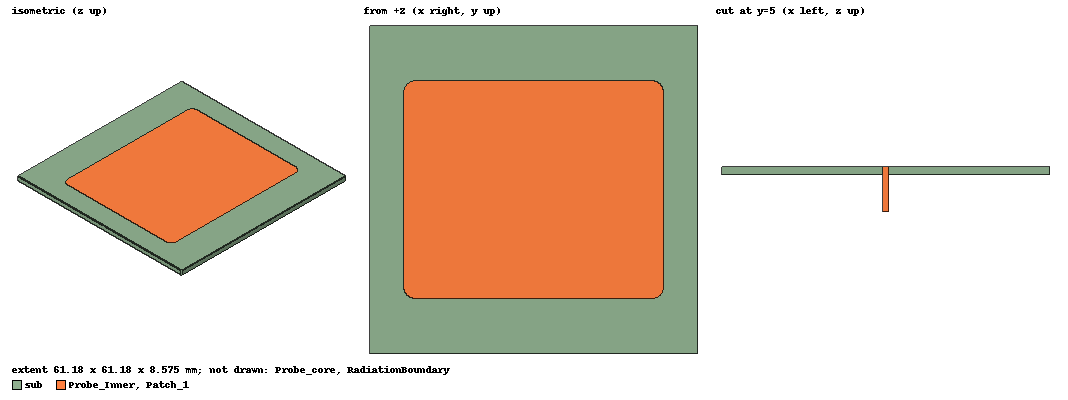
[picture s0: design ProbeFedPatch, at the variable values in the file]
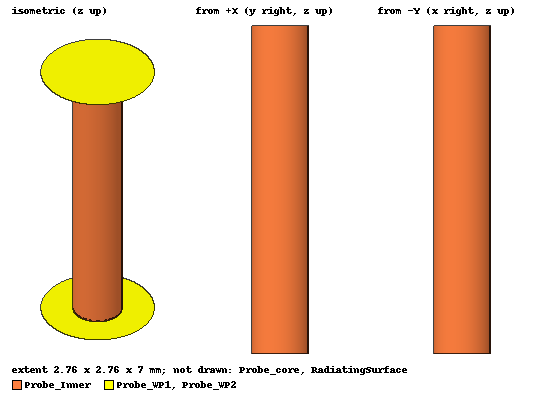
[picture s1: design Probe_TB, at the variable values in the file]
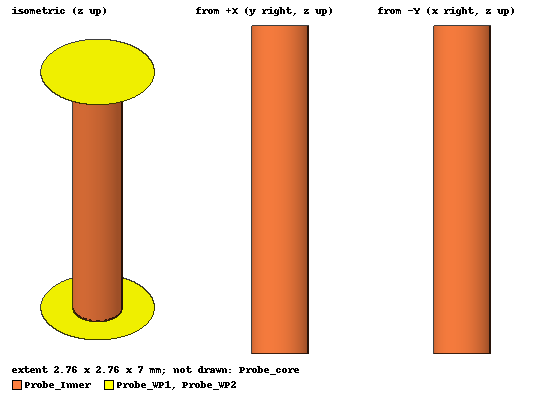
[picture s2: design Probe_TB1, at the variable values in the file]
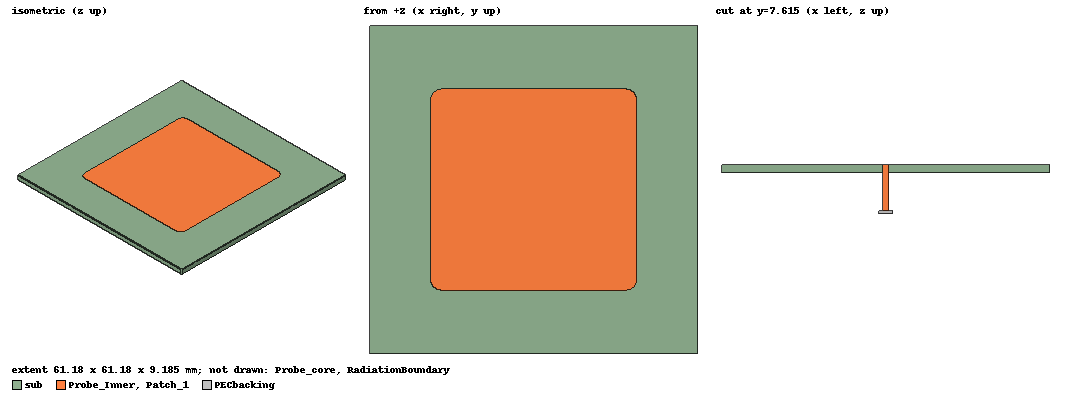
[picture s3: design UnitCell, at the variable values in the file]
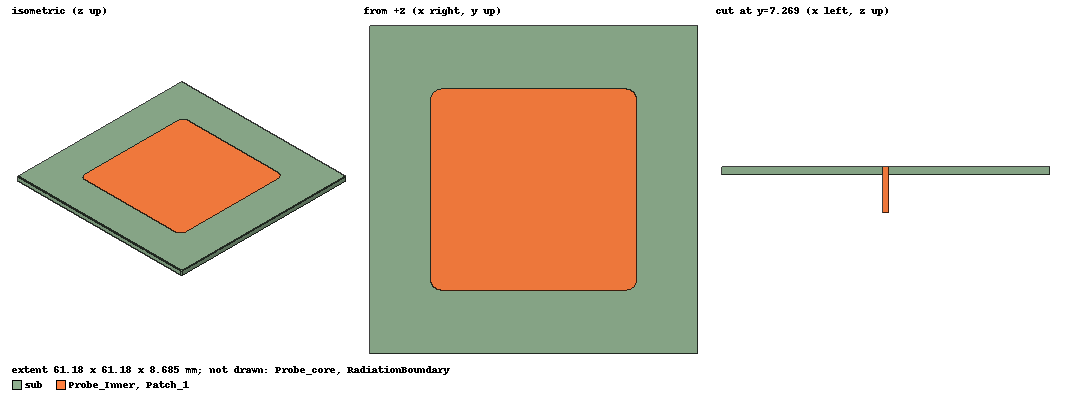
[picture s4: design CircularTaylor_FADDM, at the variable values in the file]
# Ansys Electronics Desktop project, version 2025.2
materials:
  vacuum: permittivity=1
  Rogers RT/duroid 5880 (tm): permittivity=2.2 dielectric_loss_tangent=0.0009
  pec: conductivity=1e+30
  Teflon (tm): permittivity=2.1 dielectric_loss_tangent=0.001
  air: permittivity=1.0006 permeability=1.0000004

design ProbeFedPatch (HFSS, HFSS Modal Network, model units mm)
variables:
  PatchW = 48.4022mm
  PatchL = 40.5207mm
  subh = 62mil
  probe_b = 1.38mm
  probe_a = 0.6mm
  subW = 61.18367347mm
  r_x = 1mm
  r_s = 2mm
  probe_L = 7mm
  dx = 0mm
  dy = 5mm
  lambda = 150mm
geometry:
  sub [Rogers RT/duroid 5880 (tm)] = box(corner=(-subW/2, -subW/2, 0mm), size=(subW, subW, subh))
  Patch = rectangle(corner=(-PatchW/2, -PatchL/2, subh), x_size=PatchW, y_size=PatchL)
  PatchCorner_Remove1 = circle(normal=Z, centre=(PatchW/2-r_s, PatchL/2-r_s, subh), radius=r_s)
  Patch_1 = PatchCorner_Remove1.duplicate_along_line(step=(-PatchW +2*r_s, 0mm, 0mm), total=2)
  PatchCorner_Remove3 = PatchCorner_Remove1.duplicate_along_line(step=(0mm, -PatchL+2*r_s, 0mm), total=2)
  PatchCorner_Remove4 = Patch_1.duplicate_along_line(step=(0mm, -PatchL+2 * r_s, 0mm), total=2)
  PatchCorner_Remove5 = circle(normal=Z, centre=(PatchW/2-r_s, PatchL/2-r_s, subh), radius=r_s)
  PatchCorner_Remove6 = PatchCorner_Remove5.duplicate_along_line(step=(-PatchW +2*r_s, 0mm, 0mm), total=2)
  PatchCorner_Remove5.move(r_s, r_s, 0mm)
  PatchCorner_Remove6.move(-r_s, r_s, 0mm)
  PatchCorner_Remove9 = circle(normal=Z, centre=(PatchW/2-r_s, PatchL/2-r_s, subh), radius=r_s)
  PatchCorner_Remove10 = PatchCorner_Remove9.duplicate_along_line(step=(-PatchW +2*r_s, 0mm, 0mm), total=2)
  PatchCorner_Remove7 = PatchCorner_Remove9.duplicate_along_line(step=(0mm, -PatchL+2*r_s, 0mm), total=2)
  PatchCorner_Remove9.delete()
  PatchCorner_Remove8 = PatchCorner_Remove10.duplicate_along_line(step=(0mm, -PatchL+2 * r_s, 0mm), total=2)
  PatchCorner_Remove10.delete()
  PatchCorner_Remove7.move(r_s, -r_s, 0mm)
  PatchCorner_Remove8.move(-r_s, -r_s, 0mm)
  Patch.subtract(PatchCorner_Remove5..PatchCorner_Remove8)
  Patch_1.unite(PatchCorner_Remove1, PatchCorner_Remove3, PatchCorner_Remove4, Patch)
  Probe_Inner [pec] = cylinder(axis=Z, base_centre=(dx, dy, -probe_L), radius=probe_a, height=probe_L+subh)
  Probe_Inner_1 = Probe_Inner.copy()
  Probe_core [air] = cylinder(axis=Z, base_centre=(dx, dy, -Probe_L), radius=probe_b, height=Probe_L)
  Probe_core.subtract(Probe_Inner_1)
  Probe_WP2 = circle(normal=Z, centre=(dx, dy, -Probe_L), radius=probe_b)
  RadiationBoundary [vacuum] = box(corner=(-subW/2-lambda/2, -subW/2-lambda/2, -lambda/2-probe_L), size=(lambda+subW, lambda+subW, lambda+probe_L+subh))
  Probe_Inner_2 = Probe_Inner.copy()
  sub.subtract(Probe_Inner_2)
  GroundPlane [Rogers RT/duroid 5880 (tm)] = object_from(sub.face(-z))
  Probe_WP3 = circle(normal=Z, centre=(dx, dy, 0), radius=probe_b)
  GroundPlane.subtract(Probe_WP3)
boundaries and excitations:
  PerfE1: Perfect E Faces=Probe_core.face(side)
  FE-BI1: FE-BI Objects=RadiationBoundary UseAdaptiveIE
  PerfE2: Perfect E Objects=Patch_1
  PerfE3: Perfect E Objects=GroundPlane
  1: Wave Port Objects=Probe_WP2 WavePortType=Modal NumModes=1 Modes{Mode1{IntLine{(0, 3.62, -7) -> (0, 4.4, -7)} CharImp=Zpi}} SpecifiedWaveDirectionFlip
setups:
  InitialBroadbandSweep: HfssDriven MultipleAdaptiveFreqsSetup{Low=1GHz High=7GHz} MaxDeltaS=0.02 MaximumPasses=12 MinimumPasses=1 MinimumConvergedPasses=1 PercentRefinement=30 BasisOrder=1 PortAccuracy=2 DrivenSolverType="Domain Decomposition" IterativeResidual=1e-06 DDMSolverResidual=0.0001 SaveRadFieldsOnly InfiniteSphereSetup=1
    sweep Sweep: 1GHz to 7GHz, 601 points; Type=Interpolating SaveFields InterpTolerance=0.5 InterpMaxSolns=250 InterpUsePortImped=false PassivityErrorTolerance=0.0001
  SimpleSweep: HfssDriven Frequency=2.45GHz MaxDeltaS=0.02 MaximumPasses=12 MinimumPasses=1 MinimumConvergedPasses=1 PercentRefinement=30 BasisOrder=1 PortAccuracy=2 DrivenSolverType="Domain Decomposition" IterativeResidual=1e-06 DDMSolverResidual=0.0001 InfiniteSphereSetup=1
    sweep Sweep: 2GHz to 3GHz, 101 points; Type=Interpolating SaveFields InterpTolerance=0.5 InterpMaxSolns=250 InterpUsePortImped=false PassivityErrorTolerance=0.0001
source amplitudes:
  1:1: 1W 0deg
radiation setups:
  Infinite Sphere1: Infinite Sphere Theta=-180deg..180deg step 1deg Phi=-180deg..180deg step 1deg
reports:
  S Parameter Plot1: dB(S(1,1)) vs Freq on SimpleSweep : Sweep

design Probe_TB (HFSS, HFSS Modal Network, model units mm)
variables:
  PatchW = 48.4022mm
  PatchL = 40.5207mm
  subh = 62mil
  probe_b = 1.38mm
  probe_a = 0.6mm
  subW = 61.18367347mm
  probe_L = 7mm
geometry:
  Probe_Inner [pec] = cylinder(axis=Z, base_centre=(0mm, 0mm, -probe_L), radius=probe_a, height=probe_L)
  Probe_core [air] = cylinder(axis=Z, base_centre=(0mm, 0mm, -Probe_L), radius=probe_b, height=Probe_L)
  Probe_Inner_1 = Probe_Inner.copy()
  Probe_core.subtract(Probe_Inner_1)
  Probe_WP1 = circle(normal=Z, centre=(0mm, 0mm, 0mm), radius=probe_b)
  Probe_WP2 = circle(normal=Z, centre=(0mm, 0mm, -Probe_L), radius=probe_b)
  RadiatingSurface [vacuum] = region(absolute_offset=100mm on all sides)
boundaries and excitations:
  PerfE1: Perfect E Faces=Probe_core.face(side)
  Open1: Radiation Objects=RadiatingSurface
  1: Wave Port Objects=Probe_WP1 WavePortType=Modal NumModes=1 Modes{Mode1{IntLine{(0, 1.38, 0) -> (0, 0.6, 0)} CharImp=Zpi}}
  2: Wave Port Objects=Probe_WP2 WavePortType=Modal NumModes=1 Modes{Mode1{IntLine{(0, -1.38, -7) -> (0, -0.6, -7)} CharImp=Zpi}} SpecifiedWaveDirectionFlip
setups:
  Setup1: HfssDriven MultipleAdaptiveFreqsSetup{Low=1GHz High=10GHz} MaxDeltaS=0.02 MaximumPasses=10 MinimumPasses=1 MinimumConvergedPasses=1 PercentRefinement=30 BasisOrder=1 PortAccuracy=2 DrivenSolverType="Direct Solver"
    sweep Sweep: 1GHz to 10GHz, 401 points; Type=Interpolating SaveFields InterpTolerance=0.5 InterpMaxSolns=250 InterpUsePortImped=false PassivityErrorTolerance=0.0001
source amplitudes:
  1:1: 1W 0deg
  2:1: 0W 0deg
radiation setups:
  3D: Infinite Sphere Theta=0deg..180deg step 2deg Phi=-180deg..180deg step 2deg
  Elevation: Infinite Sphere Theta=-180deg..180deg step 1deg Phi=0deg..90deg step 90deg
  Azimuth: Infinite Sphere Theta=90deg..90deg step 0deg Phi=-180deg..180deg step 1deg
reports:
  S Parameters: dB(S(1,1)), dB(S(2,1)) vs Freq on Setup1 : Sweep
  Port Zo Plot1:
  Port Zo Plot2:
  Characteristic Impedance: mag(Zo(1)) vs Freq on Setup1 : Sweep

design Probe_TB1 (HFSS, HFSS Modal Network, model units mm)
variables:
  PatchW = 48.4022mm
  PatchL = 40.5207mm
  subh = 62mil
  probe_b = 1.38mm
  probe_a = 0.6mm
  subW = 61.18367347mm
  probe_L = 7mm
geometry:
  Probe_Inner [pec] = cylinder(axis=Z, base_centre=(0mm, 0mm, -probe_L), radius=probe_a, height=probe_L)
  Probe_core [air] = cylinder(axis=Z, base_centre=(0mm, 0mm, -Probe_L), radius=probe_b, height=Probe_L)
  Probe_Inner_1 = Probe_Inner.copy()
  Probe_core.subtract(Probe_Inner_1)
  Probe_WP1 = circle(normal=Z, centre=(0mm, 0mm, 0mm), radius=probe_b)
  Probe_WP2 = circle(normal=Z, centre=(0mm, 0mm, -Probe_L), radius=probe_b)
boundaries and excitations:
  PerfE1: Perfect E Faces=Probe_core.face(side)
  1: Wave Port Objects=Probe_WP1 WavePortType=Modal NumModes=1 Modes{Mode1{IntLine{(0, 1.38, 0) -> (0, 0.6, 0)} CharImp=Zpi}}
  2: Wave Port Objects=Probe_WP2 WavePortType=Modal NumModes=1 Modes{Mode1{IntLine{(0, -1.38, -7) -> (0, -0.6, -7)} CharImp=Zpi}} SpecifiedWaveDirectionFlip
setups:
  Setup1: HfssDriven MultipleAdaptiveFreqsSetup{Low=1GHz High=10GHz} MaxDeltaS=0.02 MaximumPasses=10 MinimumPasses=1 MinimumConvergedPasses=1 PercentRefinement=30 BasisOrder=1 PortAccuracy=2 DrivenSolverType="Direct Solver"
    sweep Sweep: 1GHz to 10GHz, 401 points; Type=Interpolating SaveFields InterpTolerance=0.5 InterpMaxSolns=250 InterpUsePortImped=false PassivityErrorTolerance=0.0001
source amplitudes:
  1:1: 1W 0deg
  2:1: 0W 0deg
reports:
  S Parameters: dB(S(1,1)), dB(S(2,1)) vs Freq on Setup1 : Sweep
  Port Zo Plot1:
  Port Zo Plot2:
  Characteristic Impedance: mag(Zo(1)) vs Freq on Setup1 : Sweep

design UnitCell (HFSS, HFSS Modal Network, model units mm)
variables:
  PatchW = 38.4mm  # optimise 24.2011mm..72.6033mm
  PatchL = 37.5mm  # optimise 20.26035mm..60.78105mm
  subh = 62mil
  probe_b = 1.38mm
  probe_a = 0.6mm
  subW = 61.18367347mm
  r_x = 1mm
  r_s = 2mm
  probe_L = 7.11mm
  dx = 0mm  # optimise -2mm..2mm
  dy = 7.615mm  # optimise 2.5mm..7.5mm
  lambda = 150mm
  Scan_Phi = 0deg
  Scan_Theta = 0deg
  air_gap = 5mm
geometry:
  sub [Rogers RT/duroid 5880 (tm)] = box(corner=(-subW/2, -subW/2, 0mm), size=(subW, subW, subh))
  Patch = rectangle(corner=(-PatchW/2, -PatchL/2, subh), x_size=PatchW, y_size=PatchL)
  PatchCorner_Remove1 = circle(normal=Z, centre=(PatchW/2-r_s, PatchL/2-r_s, subh), radius=r_s)
  Patch_1 = PatchCorner_Remove1.duplicate_along_line(step=(-PatchW +2*r_s, 0mm, 0mm), total=2)
  PatchCorner_Remove3 = PatchCorner_Remove1.duplicate_along_line(step=(0mm, -PatchL+2*r_s, 0mm), total=2)
  PatchCorner_Remove4 = Patch_1.duplicate_along_line(step=(0mm, -PatchL+2 * r_s, 0mm), total=2)
  PatchCorner_Remove5 = circle(normal=Z, centre=(PatchW/2-r_s, PatchL/2-r_s, subh), radius=r_s)
  PatchCorner_Remove6 = PatchCorner_Remove5.duplicate_along_line(step=(-PatchW +2*r_s, 0mm, 0mm), total=2)
  PatchCorner_Remove5.move(r_s, r_s, 0mm)
  PatchCorner_Remove6.move(-r_s, r_s, 0mm)
  PatchCorner_Remove9 = circle(normal=Z, centre=(PatchW/2-r_s, PatchL/2-r_s, subh), radius=r_s)
  PatchCorner_Remove10 = PatchCorner_Remove9.duplicate_along_line(step=(-PatchW +2*r_s, 0mm, 0mm), total=2)
  PatchCorner_Remove7 = PatchCorner_Remove9.duplicate_along_line(step=(0mm, -PatchL+2*r_s, 0mm), total=2)
  PatchCorner_Remove9.delete()
  PatchCorner_Remove8 = PatchCorner_Remove10.duplicate_along_line(step=(0mm, -PatchL+2 * r_s, 0mm), total=2)
  PatchCorner_Remove10.delete()
  PatchCorner_Remove7.move(r_s, -r_s, 0mm)
  PatchCorner_Remove8.move(-r_s, -r_s, 0mm)
  Patch.subtract(PatchCorner_Remove5..PatchCorner_Remove8)
  Patch_1.unite(PatchCorner_Remove1, PatchCorner_Remove3, PatchCorner_Remove4, Patch)
  Probe_Inner [pec] = cylinder(axis=Z, base_centre=(dx, dy, -probe_L), radius=probe_a, height=probe_L+subh)
  Probe_Inner_1 = Probe_Inner.copy()
  Probe_core [air] = cylinder(axis=Z, base_centre=(dx, dy, -Probe_L), radius=probe_b, height=Probe_L)
  Probe_core.subtract(Probe_Inner_1)
  Probe_WP2 = circle(normal=Z, centre=(dx, dy, -Probe_L), radius=probe_b)
  RadiationBoundary [vacuum] = box(corner=(-subW/2, -subW/2, -probe_L-air_gap), size=(subW, subW, lambda/2 + probe_L+ air_gap))
  Probe_Inner_2 = Probe_Inner.copy()
  sub.subtract(Probe_Inner_2)
  GroundPlane [Rogers RT/duroid 5880 (tm)] = object_from(sub.face(-z))
  Probe_WP3 = circle(normal=Z, centre=(dx, dy, 0), radius=probe_b)
  GroundPlane.subtract(Probe_WP3)
  PECbacking [pec] = cylinder(axis=Z, base_centre=(dx, dy, -probe_L), radius=probe_b, height=-0.5mm)
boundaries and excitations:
  PerfE1: Perfect E Faces=Probe_core.face(side)
  PerfE2: Perfect E Objects=Patch_1
  PerfE3: Perfect E Objects=GroundPlane
  LatticePair1: Lattice Pair Faces=RadiationBoundary.face(+y, -y) CoordSysVector{(-30.591837, 30.591837, -12.11) -> (-30.591837, 30.591837, 75)} PhaseDelay=UseScanAngle Phi=Scan_Phi Theta=Scan_Theta
  LatticePair2: Lattice Pair Faces=RadiationBoundary.face(-x, +x) CoordSysVector{(-30.591837, -30.591837, -12.11) -> (-30.591837, -30.591837, 75)} ReverseV PhaseDelay=UseScanAngle Phi=Scan_Phi Theta=Scan_Theta
  Rad1: Radiation Faces=RadiationBoundary.face(+z)
  1: Wave Port Objects=Probe_WP2 WavePortType=Modal NumModes=1 Modes{Mode1{IntLine{(0, 6.235, -7.11) -> (0, 7.015, -7.11)} CharImp=Zpi}} SpecifiedWaveDirectionFlip
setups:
  mySetup: HfssDriven Frequency=2.45GHz MaxDeltaS=0.02 MaximumPasses=20 MinimumPasses=3 MinimumConvergedPasses=1 PercentRefinement=30 BasisOrder=1 PortAccuracy=2 DrivenSolverType="Direct Solver" InfiniteSphereSetup=1
    sweep Sweep: 2GHz to 3GHz, 201 points; Type=Interpolating SaveFields InterpTolerance=0.5 InterpMaxSolns=250 InterpUsePortImped=false PassivityErrorTolerance=0.0001
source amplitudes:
  1:1: 1W 0deg
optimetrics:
  UnitCellOptimization: Optimization Optimizer="DX MOGA" AnalysisStopOptions{StopForNumIteration MaxNumIteration=1100 MinNumIteration=10} CostFuncNormType=L2 Acceptable_Cost=0 Noise=0.0001 UpdateDesignWhenDone
    vary PatchL: Min=33mm Max=38mm MinStep=0.405207mm MaxStep=4.05207mm MinFocus=20.26035mm MaxFocus=60.78105mm start=34mm
    vary PatchW: Min=34mm Max=39mm MinStep=0.484022mm MaxStep=4.84022mm MinFocus=24.2011mm MaxFocus=72.6033mm start=39mm
    vary dy: Min=1mm Max=10mm MinStep=0.05mm MaxStep=0.5mm MinFocus=2.5mm MaxFocus=7.5mm start=7.6mm
    goal dB(S(1,1)) Minimize 0 weight 1 on mySetup : LastAdaptive at Freq 2.45GHz
  Patch Length Parametric Study: Parametric Sim._Setups=[mySetup]
    sweep PatchL: LIN 35mm 40mm 0.5mm
  Patch Width Parametric Study: Parametric Sim._Setups=[mySetup]
    sweep PatchW: LIN 38mm 39mm 0.1mm
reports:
  Return Loss: dB(S(1,1)) vs Freq on mySetup : Sweep; markers m1 at 2.4GHz, m4 at 2.475GHz, m5 at 2.53GHz, m6 at 2.395GHz, m7 at 2.405GHz
  S Parameter Plot2: dB(S(1,1)) vs Freq on mySetup : LastAdaptive [PatchW=all PatchL=all dx=all dy=all]

design CircularTaylor_FADDM (HFSS, HFSS Hybrid Modal Network, model units mm)
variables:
  PatchW = 38.4mm
  PatchL = 37.5mm  # optimise 20.26035mm..60.78105mm
  subh = 62mil
  probe_b = 1.38mm
  probe_a = 0.6mm
  subW = 61.18367347mm
  r_x = 1mm
  r_s = 2mm
  probe_L = 7.11mm
  dx = 0mm
  dy = 7.269375mm  # optimise 2.5mm..7.5mm
  lambda = 150mm
  Scan_Phi = 0deg
  Scan_Theta = 0deg
  air_gap = 5mm
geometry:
  sub [Rogers RT/duroid 5880 (tm)] = box(corner=(-subW/2, -subW/2, 0mm), size=(subW, subW, subh))
  Patch = rectangle(corner=(-PatchW/2, -PatchL/2, subh), x_size=PatchW, y_size=PatchL)
  PatchCorner_Remove1 = circle(normal=Z, centre=(PatchW/2-r_s, PatchL/2-r_s, subh), radius=r_s)
  Patch_1 = PatchCorner_Remove1.duplicate_along_line(step=(-PatchW +2*r_s, 0mm, 0mm), total=2)
  PatchCorner_Remove3 = PatchCorner_Remove1.duplicate_along_line(step=(0mm, -PatchL+2*r_s, 0mm), total=2)
  PatchCorner_Remove4 = Patch_1.duplicate_along_line(step=(0mm, -PatchL+2 * r_s, 0mm), total=2)
  PatchCorner_Remove5 = circle(normal=Z, centre=(PatchW/2-r_s, PatchL/2-r_s, subh), radius=r_s)
  PatchCorner_Remove6 = PatchCorner_Remove5.duplicate_along_line(step=(-PatchW +2*r_s, 0mm, 0mm), total=2)
  PatchCorner_Remove5.move(r_s, r_s, 0mm)
  PatchCorner_Remove6.move(-r_s, r_s, 0mm)
  PatchCorner_Remove9 = circle(normal=Z, centre=(PatchW/2-r_s, PatchL/2-r_s, subh), radius=r_s)
  PatchCorner_Remove10 = PatchCorner_Remove9.duplicate_along_line(step=(-PatchW +2*r_s, 0mm, 0mm), total=2)
  PatchCorner_Remove7 = PatchCorner_Remove9.duplicate_along_line(step=(0mm, -PatchL+2*r_s, 0mm), total=2)
  PatchCorner_Remove9.delete()
  PatchCorner_Remove8 = PatchCorner_Remove10.duplicate_along_line(step=(0mm, -PatchL+2 * r_s, 0mm), total=2)
  PatchCorner_Remove10.delete()
  PatchCorner_Remove7.move(r_s, -r_s, 0mm)
  PatchCorner_Remove8.move(-r_s, -r_s, 0mm)
  Patch.subtract(PatchCorner_Remove5..PatchCorner_Remove8)
  Patch_1.unite(PatchCorner_Remove1, PatchCorner_Remove3, PatchCorner_Remove4, Patch)
  Probe_Inner [pec] = cylinder(axis=Z, base_centre=(dx, dy, -probe_L), radius=probe_a, height=probe_L+subh)
  Probe_Inner_1 = Probe_Inner.copy()
  Probe_core [air] = cylinder(axis=Z, base_centre=(dx, dy, -Probe_L), radius=probe_b, height=Probe_L)
  Probe_core.subtract(Probe_Inner_1)
  Probe_WP2 = circle(normal=Z, centre=(dx, dy, -Probe_L), radius=probe_b)
  RadiationBoundary [vacuum] = box(corner=(-subW/2, -subW/2, -probe_L-air_gap), size=(subW, subW, lambda/2 + probe_L+ air_gap))
  Probe_Inner_2 = Probe_Inner.copy()
  sub.subtract(Probe_Inner_2)
  GroundPlane [Rogers RT/duroid 5880 (tm)] = object_from(sub.face(-z))
  Probe_WP3 = circle(normal=Z, centre=(dx, dy, 0), radius=probe_b)
  GroundPlane.subtract(Probe_WP3)
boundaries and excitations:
  PerfE1: Perfect E Faces=Probe_core.face(side)
  PerfE2: Perfect E Objects=Patch_1
  PerfE3: Perfect E Objects=GroundPlane
  LatticePair1: Lattice Pair Faces=RadiationBoundary.face(+y, -y) CoordSysVector{(-30.591837, 30.591837, -12.11) -> (-30.591837, 30.591837, 75)} PhaseDelay=UseScanAngle Phi=Scan_Phi Theta=Scan_Theta
  LatticePair2: Lattice Pair Faces=RadiationBoundary.face(-x, +x) CoordSysVector{(-30.591837, -30.591837, -12.11) -> (-30.591837, -30.591837, 75)} ReverseV PhaseDelay=UseScanAngle Phi=Scan_Phi Theta=Scan_Theta
  Rad1: Radiation Faces=RadiationBoundary.face(+z)
  1: Wave Port Objects=Probe_WP2 WavePortType=Modal NumModes=1 Modes{Mode1{IntLine{(0, 5.889375, -7.11) -> (0, 6.669375, -7.11)} CharImp=Zpi}} SpecifiedWaveDirectionFlip
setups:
  SimpleSweep: HfssDriven Frequency=2.4GHz MaxDeltaS=0.02 MaximumPasses=20 MinimumPasses=1 MinimumConvergedPasses=1 PercentRefinement=30 BasisOrder=1 PortAccuracy=2 DrivenSolverType="Direct Solver" ConstantDelta=0s InfiniteSphereSetup=17
    sweep Sweep: point 2.4GHz; Type=Discrete SaveFields
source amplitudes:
  1:1, 1:8, 1:21, 1:34, 1:67, 1:84, 1:193, 1:210, 1:243, 1:256, 1:269, 1:276: 0.73936996655641W 0deg
  1:2, 1:7, 1:85, 1:102, 1:175, 1:192, 1:270, 1:275: 0.682878137993721W 0deg
  1:3, 1:6, 1:103, 1:120, 1:157, 1:174, 1:271, 1:274: 0.638125986036853W 0deg
  1:4, 1:5, 1:22, 1:33, 1:36, 1:49, 1:121, 1:138, 1:139, 1:156, 1:228, 1:241, 1:244, 1:255, 1:272, 1:273: 0.614304665457233W 0deg
  1:9, 1:20, 1:35, 1:50, 1:227, 1:242, 1:257, 1:268: 0.754637402894483W 0deg
  1:10, 1:19, 1:51, 1:66, 1:211, 1:226, 1:258, 1:267: 0.661067431753212W 0deg
  1:11, 1:18, 1:68, 1:83, 1:194, 1:209, 1:259, 1:266: 0.565115777851209W 0deg
  1:12, 1:17, 1:86, 1:101, 1:176, 1:191, 1:260, 1:265: 0.491861354978606W 0deg
  1:13, 1:16, 1:104, 1:119, 1:158, 1:173, 1:261, 1:264: 0.446871656080526W 0deg
  1:14, 1:15, 1:122, 1:137, 1:140, 1:155, 1:262, 1:263: 0.426405308404801W 0deg
  1:23, 1:32, 1:52, 1:65, 1:212, 1:225, 1:245, 1:254: 0.491861354978611W 0deg
  1:24, 1:31, 1:69, 1:82, 1:195, 1:208, 1:246, 1:253: 0.407658233834282W 0deg
  1:25, 1:30, 1:87, 1:100, 1:177, 1:190, 1:247, 1:252: 0.364295916179835W 0deg
  1:26, 1:29, 1:105, 1:118, 1:159, 1:172, 1:248, 1:251: 0.348564897843671W 0deg
  1:27, 1:28, 1:39, 1:46, 1:70, 1:81, 1:123, 1:136, 1:141, 1:154, 1:196, 1:207, 1:231, 1:238, 1:249, 1:250: 0.345390287630679W 0deg
  1:37, 1:48, 1:229, 1:240: 0.468784813324039W 0deg
  1:38, 1:47, 1:53, 1:64, 1:213, 1:224, 1:230, 1:239: 0.376356273662445W 0deg
  1:40, 1:45, 1:88, 1:99, 1:178, 1:189, 1:232, 1:237: 0.357948291614004W 0deg
  1:41, 1:44, 1:55, 1:62, 1:71, 1:80, 1:106, 1:117, 1:160, 1:171, 1:197, 1:206, 1:215, 1:222, 1:233, 1:236: 0.387984672300009W 0deg
  1:42, 1:43, 1:124, 1:135, 1:142, 1:153, 1:234, 1:235: 0.41059835545537W 0deg
  1:54, 1:63, 1:214, 1:223: 0.34569654713344W 0deg
  1:56, 1:61, 1:89, 1:98, 1:179, 1:188, 1:216, 1:221: 0.472793461616763W 0deg
  1:57, 1:60, 1:107, 1:116, 1:161, 1:170, 1:217, 1:220: 0.559026321574702W 0deg
  1:58, 1:59, 1:125, 1:134, 1:143, 1:152, 1:218, 1:219: 0.610956318331756W 0deg
  1:72, 1:79, 1:198, 1:205: 0.512878272750272W 0deg
  1:73, 1:78, 1:90, 1:97, 1:180, 1:187, 1:199, 1:204: 0.667978215984659W 0deg
  1:74, 1:77, 1:108, 1:115, 1:162, 1:169, 1:200, 1:203: 0.791635349437427W 0deg
  1:75, 1:76, 1:91, 1:96, 1:126, 1:133, 1:144, 1:151, 1:181, 1:186, 1:201, 1:202: 0.853523296543327W 0deg
  1:92, 1:95, 1:109, 1:114, 1:163, 1:168, 1:182, 1:185: 0.958320917737565W 0deg
  1:93, 1:94, 1:127, 1:132, 1:145, 1:150, 1:183, 1:184: 0.990375082274461W 0deg
  1:110, 1:113, 1:164, 1:167: 1W 0deg
  1:111, 1:112, 1:128, 1:131, 1:146, 1:149, 1:165, 1:166: 0.979833772892767W 0deg
  1:129, 1:130, 1:147, 1:148: 0.922837720873371W 0deg
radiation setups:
  Infinite Sphere1: Infinite Sphere Theta=-180deg..180deg step 1deg Phi=-180deg..180deg step 1deg
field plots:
  Vector_E1: E Field in sub on SimpleSweep : Sweep at Freq=2.4GHz Phase=90deg
  Vector_H1: H Field in sub on SimpleSweep : Sweep at Freq=2.4GHz Phase=90deg
